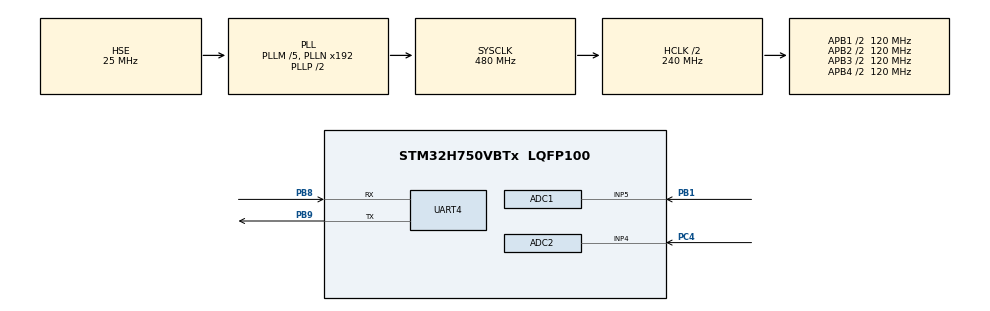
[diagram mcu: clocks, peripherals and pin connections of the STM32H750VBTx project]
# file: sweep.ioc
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ADC1.Channel-0\#ChannelRegularConversion=ADC_CHANNEL_5
ADC1.ClockPrescaler=ADC_CLOCK_ASYNC_DIV2
ADC1.ContinuousConvMode=ENABLE
ADC1.ConversionDataManagement=ADC_CONVERSIONDATA_DMA_ONESHOT
ADC1.DMAAccessModeView=ENABLE
ADC1.EOCSelection=ADC_EOC_SEQ_CONV
ADC1.Mode=ADC_DUALMODE_REGSIMULT
ADC1.NbrOfConversionFlag=1
ADC1.OffsetNumber-0\#ChannelRegularConversion=ADC_OFFSET_NONE
ADC1.OffsetSignedSaturation-0\#ChannelRegularConversion=DISABLE
ADC1.Overrun=ADC_OVR_DATA_OVERWRITTEN
ADC1.Rank-0\#ChannelRegularConversion=1
ADC1.SamplingTime-0\#ChannelRegularConversion=ADC_SAMPLETIME_1CYCLE_5
ADC1.master=1
ADC2.Channel-0\#ChannelRegularConversion=ADC_CHANNEL_4
ADC2.ClockPrescaler=ADC_CLOCK_ASYNC_DIV2
ADC2.DMAAccessModeView=ENABLE
ADC2.EOCSelection=ADC_EOC_SEQ_CONV
ADC2.Mode=ADC_DUALMODE_REGSIMULT
ADC2.NbrOfConversionFlag=1
ADC2.OffsetNumber-0\#ChannelRegularConversion=ADC_OFFSET_NONE
ADC2.OffsetSignedSaturation-0\#ChannelRegularConversion=DISABLE
ADC2.Overrun=ADC_OVR_DATA_OVERWRITTEN
ADC2.Rank-0\#ChannelRegularConversion=1
ADC2.SamplingTime-0\#ChannelRegularConversion=ADC_SAMPLETIME_1CYCLE_5
Dma.ADC1.0.Direction=DMA_PERIPH_TO_MEMORY
Dma.ADC1.0.EventEnable=DISABLE
Dma.ADC1.0.FIFOMode=DMA_FIFOMODE_DISABLE
Dma.ADC1.0.Instance=DMA1_Stream0
Dma.ADC1.0.MemDataAlignment=DMA_MDATAALIGN_WORD
Dma.ADC1.0.MemInc=DMA_MINC_ENABLE
Dma.ADC1.0.Mode=DMA_NORMAL
Dma.ADC1.0.PeriphDataAlignment=DMA_PDATAALIGN_WORD
Dma.ADC1.0.PeriphInc=DMA_PINC_DISABLE
Dma.ADC1.0.Polarity=HAL_DMAMUX_REQ_GEN_RISING
Dma.ADC1.0.Priority=DMA_PRIORITY_LOW
Dma.ADC1.0.RequestNumber=1
Dma.ADC1.0.SignalID=NONE
Dma.ADC1.0.SyncEnable=DISABLE
Dma.ADC1.0.SyncPolarity=HAL_DMAMUX_SYNC_NO_EVENT
Dma.ADC1.0.SyncRequestNumber=1
Dma.ADC1.0.SyncSignalID=NONE
Dma.Request0=ADC1
Mcu.Family=STM32H7
Mcu.Name=STM32H750VBTx
Mcu.Package=LQFP100
NVIC.DMA1_Stream0_IRQn=true\:3\:0\:true\:false\:true\:false\:true
NVIC.PriorityGroup=NVIC_PRIORITYGROUP_2
NVIC.UART4_IRQn=true\:3\:3\:true\:false\:true\:true\:true
PB1.Signal=ADCx_INP5
PB8.Mode=Asynchronous
PB8.Signal=UART4_RX
PB9.Mode=Asynchronous
PB9.Signal=UART4_TX
PC4.Signal=ADCx_INP4
PH0-OSC_IN\ (PH0).Mode=HSE-External-Oscillator
PH0-OSC_IN\ (PH0).Signal=RCC_OSC_IN
PH1-OSC_OUT\ (PH1).Mode=HSE-External-Oscillator
PH1-OSC_OUT\ (PH1).Signal=RCC_OSC_OUT
ProjectManager.HeapSize=0x1000
ProjectManager.StackSize=0x20000
ProjectManager.TargetToolchain=MDK-ARM V5
RCC.ADCCLockSelection=RCC_ADCCLKSOURCE_PLL3
RCC.ADCFreq_Value=50000000
RCC.APB1Freq_Value=120000000
RCC.APB2Freq_Value=120000000
RCC.APB3Freq_Value=120000000
RCC.APB4Freq_Value=120000000
RCC.CKPERSourceSelection=RCC_CLKPSOURCE_CSI
RCC.CortexFreq_Value=480000000
RCC.D1PPRE=RCC_APB3_DIV2
RCC.D2PPRE1=RCC_APB1_DIV2
RCC.D2PPRE2=RCC_APB2_DIV2
RCC.D3PPRE=RCC_APB4_DIV2
RCC.DIVM1=5
RCC.DIVM2=25
RCC.DIVM3=25
RCC.DIVN1=192
RCC.DIVN2=240
RCC.DIVN3=200
RCC.DIVP3=10
RCC.DIVQ3=10
RCC.DIVR3=4
RCC.HCLKFreq_Value=240000000
RCC.HPRE=RCC_HCLK_DIV2
RCC.HRTIMCLockSelection=RCC_HRTIM1CLK_CPUCLK
RCC.LPTIM1CLockSelection=RCC_LPTIM1CLKSOURCE_CLKP
RCC.PLL2FRACN=0
RCC.PLL3FRACN=0
RCC.PLLFRACN=0
RCC.PLLSourceVirtual=RCC_PLLSOURCE_HSE
RCC.SPI123CLockSelection=RCC_SPI123CLKSOURCE_PLL2
RCC.SYSCLKFreq_VALUE=480000000
RCC.SYSCLKSource=RCC_SYSCLKSOURCE_PLLCLK
RCC.USBFreq_Value=480000000
SH.ADCx_INP4.0=ADC2_INP4,IN4-Single-Ended
SH.ADCx_INP5.0=ADC1_INP5,IN5-Single-Ended
VP_VREFBUF_V_VREFBUF.Mode=ExternalMode
board=custom

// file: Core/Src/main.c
/* USER CODE BEGIN Header */
/**
 ******************************************************************************
 * @file           : main.c
 * @brief          : Main program body
 ******************************************************************************
 * @attention
 *
 * <h2><center>&copy; Copyright (c) 2021 STMicroelectronics.
 * All rights reserved.</center></h2>
 *
 * This software component is licensed by ST under BSD 3-Clause license,
 * the "License"; You may not use this file except in compliance with the
 * License. You may obtain a copy of the License at:
 *                        opensource.org/licenses/BSD-3-Clause
 *
 ******************************************************************************
 */
/* USER CODE END Header */
#include "main.h"
#include "adc.h"
#include "dma.h"
#include "usart.h"
#include "gpio.h"

/* USER CODE BEGIN Includes */
#include "string.h"
#include "debug.h"
#include "fft.h"
#include <stdlib.h>
#include "AD9958.h"
//#include "HMC472.h"
/* USER CODE END Includes */

/* USER CODE BEGIN PTD */
#define ADC_DATA_LENGTH 1024
uint32_t g_adc1_dma_data1[ADC_DATA_LENGTH];//定义adc1采集数据存放数组
volatile uint8_t g_adc1_dma_complete_flag = 0;	//adc1数据dma采集完成标志，在dma采集完成
float dataR[1024] = {0};
float dataI[1024] = {0};
float datafR[1024] = {0};
float datafI[1024] = {0};
int f_=11;
float CH1 = 0;
float CH2 = 0;
/* USER CODE END PTD */

void SystemClock_Config(void);
void PeriphCommonClock_Config(void);

/* USER CODE BEGIN 0 */
void HAL_ADC_ConvCpltCallback(ADC_HandleTypeDef *hadc)
{
	if(hadc->Instance==ADC1)
	{
		g_adc1_dma_complete_flag = 1;//采集完成标志
//		HAL_ADCEx_MultiModeStop_DMA(&hadc1);
	}
}

void ADC_start(uint32_t freq)
{
  int f;
	if (freq >= 500000){
    f = 12;
	}else if(freq >= 200000 ){
		f = 11;
	}else if(freq >= 100000 ){
		f = 10;
	}else if(freq >= 50000 ){
		f = 9;
//	}else if(freq >= 20000 ){
//		f = 8;
	}else if(freq >= 10000 ){
		f = 7;
	}else if(freq >= 5000 ){
		f = 6;
//	}else if(freq >= 2000){
//		f = 5;
	}else if(freq >= 1000){
		f = 4;
	}else if(freq >= 500){
		f = 3;
//	}else if(freq >= 200){
//		f = 2;
	}else if(freq >= 100){
		f = 1;
	}else{
		f = 0;
	}
	if(f != f_){
		RCC_PeriphCLKInitTypeDef PeriphClkInitStruct = {0}; //RCC时钟初始结构体
		ADC_Disable(&hadc1);
		ADC_Disable(&hadc2);
		f_ = f;
		HAL_Delay(5);

	//  if(f < 9){
	//			HAL_Delay(20);
	//	}
	//	if(f < 8){
	//			HAL_Delay(20);
	//	}
	//	if(f < 7){
	//			HAL_Delay(20);
	//	}
		switch(f)
		{
			case 0://200ms
				PeriphClkInitStruct.PeriphClockSelection = RCC_PERIPHCLK_ADC;
				PeriphClkInitStruct.PLL3.PLL3M = 25;	//PLL输入25M分频,Max 63
				PeriphClkInitStruct.PLL3.PLL3N = 164;	//PLL分频后倍频,Max 512
				PeriphClkInitStruct.PLL3.PLL3R = 128;	//PLL分频,Max 128
				PeriphClkInitStruct.AdcClockSelection = RCC_ADCCLKSOURCE_PLL3;
				HAL_RCCEx_PeriphCLKConfig(&PeriphClkInitStruct);

				hadc1.Init.ClockPrescaler = ADC_CLOCK_ASYNC_DIV128;//adc内部分频,Max 256,只能倍数
				hadc2.Init.ClockPrescaler = ADC_CLOCK_ASYNC_DIV128;//adc内部分频,Max 256,只能倍数
				HAL_ADC_Init(&hadc1);
				HAL_ADC_Init(&hadc2);
			break;
			case 1://100ms
				PeriphClkInitStruct.PeriphClockSelection = RCC_PERIPHCLK_ADC;
				PeriphClkInitStruct.PLL3.PLL3M = 25;	//PLL输入25M分频,Max 63
				PeriphClkInitStruct.PLL3.PLL3N = 164;	//PLL分频后倍频,Max 512
				PeriphClkInitStruct.PLL3.PLL3R = 128;	//PLL分频,Max 128
				PeriphClkInitStruct.AdcClockSelection = RCC_ADCCLKSOURCE_PLL3;
				HAL_RCCEx_PeriphCLKConfig(&PeriphClkInitStruct);

				hadc1.Init.ClockPrescaler = ADC_CLOCK_ASYNC_DIV64;//adc内部分频,Max 256,只能倍数
				hadc2.Init.ClockPrescaler = ADC_CLOCK_ASYNC_DIV64;//adc内部分频,Max 256,只能倍数
				HAL_ADC_Init(&hadc1);
				HAL_ADC_Init(&hadc2);
			break;
			case 2://50ms
				PeriphClkInitStruct.PeriphClockSelection = RCC_PERIPHCLK_ADC;
				PeriphClkInitStruct.PLL3.PLL3M = 25;	//PLL输入25M分频,Max 63
				PeriphClkInitStruct.PLL3.PLL3N = 164;	//PLL分频后倍频,Max 512
				PeriphClkInitStruct.PLL3.PLL3R = 128;	//PLL分频,Max 128
				PeriphClkInitStruct.AdcClockSelection = RCC_ADCCLKSOURCE_PLL3;
				HAL_RCCEx_PeriphCLKConfig(&PeriphClkInitStruct);

				hadc1.Init.ClockPrescaler = ADC_CLOCK_ASYNC_DIV32;//adc内部分频,Max 256,只能倍数
				hadc2.Init.ClockPrescaler = ADC_CLOCK_ASYNC_DIV32;//adc内部分频,Max 256,只能倍数
				HAL_ADC_Init(&hadc1);
				HAL_ADC_Init(&hadc2);
			break;
			case 3://20ms
				PeriphClkInitStruct.PeriphClockSelection = RCC_PERIPHCLK_ADC;
				PeriphClkInitStruct.PLL3.PLL3M = 25;	//PLL输入25M分频,Max 63
				PeriphClkInitStruct.PLL3.PLL3N = 320;	//PLL分频后倍频,Max 512
				PeriphClkInitStruct.PLL3.PLL3R = 100;	//PLL分频,Max 128
				PeriphClkInitStruct.AdcClockSelection = RCC_ADCCLKSOURCE_PLL3;
				HAL_RCCEx_PeriphCLKConfig(&PeriphClkInitStruct);

				hadc1.Init.ClockPrescaler = ADC_CLOCK_ASYNC_DIV32;//adc内部分频,Max 256,只能倍数
				hadc2.Init.ClockPrescaler = ADC_CLOCK_ASYNC_DIV32;//adc内部分频,Max 256,只能倍数
				HAL_ADC_Init(&hadc1);
				HAL_ADC_Init(&hadc2);
			break;
			case 4://10ms
				PeriphClkInitStruct.PeriphClockSelection = RCC_PERIPHCLK_ADC;
				PeriphClkInitStruct.PLL3.PLL3M = 25;	//PLL输入25M分频,Max 63
				PeriphClkInitStruct.PLL3.PLL3N = 320;	//PLL分频后倍频,Max 512
				PeriphClkInitStruct.PLL3.PLL3R = 100;	//PLL分频,Max 128
				PeriphClkInitStruct.AdcClockSelection = RCC_ADCCLKSOURCE_PLL3;
				HAL_RCCEx_PeriphCLKConfig(&PeriphClkInitStruct);

				hadc1.Init.ClockPrescaler = ADC_CLOCK_ASYNC_DIV16;//adc内部分频,Max 256,只能倍数
				hadc2.Init.ClockPrescaler = ADC_CLOCK_ASYNC_DIV16;//adc内部分频,Max 256,只能倍数
				HAL_ADC_Init(&hadc1);
				HAL_ADC_Init(&hadc2);
			break;
			case 5://5ms
				PeriphClkInitStruct.PeriphClockSelection = RCC_PERIPHCLK_ADC;
				PeriphClkInitStruct.PLL3.PLL3M = 25;	//PLL输入25M分频,Max 63
				PeriphClkInitStruct.PLL3.PLL3N = 320;	//PLL分频后倍频,Max 512
				PeriphClkInitStruct.PLL3.PLL3R = 100;	//PLL分频,Max 128
				PeriphClkInitStruct.AdcClockSelection = RCC_ADCCLKSOURCE_PLL3;
				HAL_RCCEx_PeriphCLKConfig(&PeriphClkInitStruct);

				hadc1.Init.ClockPrescaler = ADC_CLOCK_ASYNC_DIV8;//adc内部分频,Max 256,只能倍数
				hadc2.Init.ClockPrescaler = ADC_CLOCK_ASYNC_DIV8;//adc内部分频,Max 256,只能倍数
				HAL_ADC_Init(&hadc1);
				HAL_ADC_Init(&hadc2);
			break;
			case 6://2ms
				PeriphClkInitStruct.PeriphClockSelection = RCC_PERIPHCLK_ADC;
				PeriphClkInitStruct.PLL3.PLL3M = 25;	//PLL输入25M分频,Max 63
				PeriphClkInitStruct.PLL3.PLL3N = 150;	//PLL分频后倍频,Max 512
				PeriphClkInitStruct.PLL3.PLL3R = 75;	//PLL分频,Max 128
				PeriphClkInitStruct.AdcClockSelection = RCC_ADCCLKSOURCE_PLL3;
				HAL_RCCEx_PeriphCLKConfig(&PeriphClkInitStruct);

				hadc1.Init.ClockPrescaler = ADC_CLOCK_ASYNC_DIV2;//adc内部分频,Max 256,只能倍数
				hadc2.Init.ClockPrescaler = ADC_CLOCK_ASYNC_DIV2;//adc内部分频,Max 256,只能倍数
				HAL_ADC_Init(&hadc1);
				HAL_ADC_Init(&hadc2);
			break;
			case 7://1ms
				PeriphClkInitStruct.PeriphClockSelection = RCC_PERIPHCLK_ADC;
				PeriphClkInitStruct.PLL3.PLL3M = 25;	//PLL输入25M分频,Max 63
				PeriphClkInitStruct.PLL3.PLL3N = 200;	//PLL分频后倍频,Max 512
				PeriphClkInitStruct.PLL3.PLL3R = 75;	//PLL分频,Max 128
				PeriphClkInitStruct.AdcClockSelection = RCC_ADCCLKSOURCE_PLL3;
				HAL_RCCEx_PeriphCLKConfig(&PeriphClkInitStruct);

				hadc1.Init.ClockPrescaler = ADC_CLOCK_ASYNC_DIV1;//adc内部分频,Max 256,只能倍数
				hadc2.Init.ClockPrescaler = ADC_CLOCK_ASYNC_DIV1;//adc内部分频,Max 256,只能倍数
				HAL_ADC_Init(&hadc1);
				HAL_ADC_Init(&hadc2);
			break;
			case 8://500us
				PeriphClkInitStruct.PeriphClockSelection = RCC_PERIPHCLK_ADC;
				PeriphClkInitStruct.PLL3.PLL3M = 25;	//PLL输入25M分频,Max 63
				PeriphClkInitStruct.PLL3.PLL3N = 300;	//PLL分频后倍频,Max 512
				PeriphClkInitStruct.PLL3.PLL3R = 50;	//PLL分频,Max 128
				PeriphClkInitStruct.AdcClockSelection = RCC_ADCCLKSOURCE_PLL3;
				HAL_RCCEx_PeriphCLKConfig(&PeriphClkInitStruct);
				hadc1.Init.ClockPrescaler = ADC_CLOCK_ASYNC_DIV1;//adc内部分频,Max 256,只能倍数
				hadc2.Init.ClockPrescaler = ADC_CLOCK_ASYNC_DIV1;//adc内部分频,Max 256,只能倍数
				HAL_ADC_Init(&hadc1);
				HAL_ADC_Init(&hadc2);
			break;
			case 9://200us
				PeriphClkInitStruct.PeriphClockSelection = RCC_PERIPHCLK_ADC;
				PeriphClkInitStruct.PLL3.PLL3M = 25;	//PLL输入25M分频,Max 63
				PeriphClkInitStruct.PLL3.PLL3N = 200;	//PLL分频后倍频,Max 512
				PeriphClkInitStruct.PLL3.PLL3R = 5;	//PLL分频,Max 128
				PeriphClkInitStruct.AdcClockSelection = RCC_ADCCLKSOURCE_PLL3;
				HAL_RCCEx_PeriphCLKConfig(&PeriphClkInitStruct);

				hadc1.Init.ClockPrescaler = ADC_CLOCK_ASYNC_DIV4;//adc内部分频,Max 256,只能倍数
				hadc2.Init.ClockPrescaler = ADC_CLOCK_ASYNC_DIV4;//adc内部分频,Max 256,只能倍数
				HAL_ADC_Init(&hadc1);
				HAL_ADC_Init(&hadc2);
			break;
			case 10://100us
				PeriphClkInitStruct.PeriphClockSelection = RCC_PERIPHCLK_ADC;
				PeriphClkInitStruct.PLL3.PLL3M = 25;	//PLL输入25M分频,Max 63
				PeriphClkInitStruct.PLL3.PLL3N = 200;	//PLL分频后倍频,Max 512
				PeriphClkInitStruct.PLL3.PLL3R = 5;	//PLL分频,Max 128
				PeriphClkInitStruct.AdcClockSelection = RCC_ADCCLKSOURCE_PLL3;
				HAL_RCCEx_PeriphCLKConfig(&PeriphClkInitStruct);

				hadc1.Init.ClockPrescaler = ADC_CLOCK_ASYNC_DIV2;//adc内部分频,Max 256,只能倍数
				hadc2.Init.ClockPrescaler = ADC_CLOCK_ASYNC_DIV2;//adc内部分频,Max 256,只能倍数
				HAL_ADC_Init(&hadc1);
				HAL_ADC_Init(&hadc2);
			break;
			case 11://50us
				PeriphClkInitStruct.PeriphClockSelection = RCC_PERIPHCLK_ADC;
				PeriphClkInitStruct.PLL3.PLL3M = 25;	//PLL输入25M分频,Max 63
				PeriphClkInitStruct.PLL3.PLL3N = 200;	//PLL分频后倍频,Max 512
				PeriphClkInitStruct.PLL3.PLL3R = 5;	//PLL分频,Max 128
				PeriphClkInitStruct.AdcClockSelection = RCC_ADCCLKSOURCE_PLL3;
				HAL_RCCEx_PeriphCLKConfig(&PeriphClkInitStruct);

				hadc1.Init.ClockPrescaler = ADC_CLOCK_ASYNC_DIV1;//adc内部分频,Max 256,只能倍数
				hadc2.Init.ClockPrescaler = ADC_CLOCK_ASYNC_DIV1;//adc内部分频,Max 256,只能倍数
				HAL_ADC_Init(&hadc1);
				HAL_ADC_Init(&hadc2);
			break;
			case 12://20us
				PeriphClkInitStruct.PeriphClockSelection = RCC_PERIPHCLK_ADC;
				PeriphClkInitStruct.PLL3.PLL3M = 25;	//PLL输入25M分频,Max 63
				PeriphClkInitStruct.PLL3.PLL3N = 360;	//PLL分频后倍频,Max 512
				PeriphClkInitStruct.PLL3.PLL3R = 5;	//PLL分频,Max 128
				PeriphClkInitStruct.AdcClockSelection = RCC_ADCCLKSOURCE_PLL3;
				HAL_RCCEx_PeriphCLKConfig(&PeriphClkInitStruct);

				hadc1.Init.ClockPrescaler = ADC_CLOCK_ASYNC_DIV1;//adc内部分频,Max 256,只能倍数
				hadc2.Init.ClockPrescaler = ADC_CLOCK_ASYNC_DIV1;//adc内部分频,Max 256,只能倍数
				HAL_ADC_Init(&hadc1);
				HAL_ADC_Init(&hadc2);
			break;
			case 13://10us
				PeriphClkInitStruct.PeriphClockSelection = RCC_PERIPHCLK_ADC;
				PeriphClkInitStruct.PLL3.PLL3M = 25;	//PLL输入25M分频,Max 63
				PeriphClkInitStruct.PLL3.PLL3N = 200;	//PLL分频后倍频,Max 512
				PeriphClkInitStruct.PLL3.PLL3R = 5;	//PLL分频,Max 128
				PeriphClkInitStruct.AdcClockSelection = RCC_ADCCLKSOURCE_PLL3;
				HAL_RCCEx_PeriphCLKConfig(&PeriphClkInitStruct);

				hadc1.Init.ClockPrescaler = ADC_CLOCK_ASYNC_DIV1;//adc内部分频,Max 256,只能倍数
				hadc2.Init.ClockPrescaler = ADC_CLOCK_ASYNC_DIV1;//adc内部分频,Max 256,只能倍数
				HAL_ADC_Init(&hadc1);
				HAL_ADC_Init(&hadc2);
			break;
			default:
				PeriphClkInitStruct.PeriphClockSelection = RCC_PERIPHCLK_ADC;
				PeriphClkInitStruct.PLL3.PLL3M = 25;	//PLL输入25M分频,Max 63
				PeriphClkInitStruct.PLL3.PLL3N = 200;	//PLL分频后倍频,Max 512
				PeriphClkInitStruct.PLL3.PLL3R = 5;	//PLL分频,Max 128
				PeriphClkInitStruct.AdcClockSelection = RCC_ADCCLKSOURCE_PLL3;
				HAL_RCCEx_PeriphCLKConfig(&PeriphClkInitStruct);

				hadc1.Init.ClockPrescaler = ADC_CLOCK_ASYNC_DIV1;//adc内部分频,Max 256,只能倍数
				hadc2.Init.ClockPrescaler = ADC_CLOCK_ASYNC_DIV1;//adc内部分频,Max 256,只能倍数
				HAL_ADC_Init(&hadc1);
				HAL_ADC_Init(&hadc2);
				break;
			}
	}
}
/* USER CODE END 0 */

int main(void)
{

  /* MCU Configuration--------------------------------------------------------*/

  /* Reset of all peripherals, Initializes the Flash interface and the Systick. */
  HAL_Init();

  /* USER CODE BEGIN Init */

//  HAL_SYSTICK_Config(HAL_RCC_GetHCLKFreq() / 1000);

  /* USER CODE END Init */

  /* Configure the system clock */
  SystemClock_Config();

/* Configure the peripherals common clocks */
  PeriphCommonClock_Config();

  /* USER CODE BEGIN SysInit */
  HAL_NVIC_SetPriority(SysTick_IRQn,1,0);
  /* USER CODE END SysInit */

  /* Initialize all configured peripherals */
  MX_GPIO_Init();
  MX_UART4_Init();
  MX_DMA_Init();
  MX_ADC1_Init();
  MX_ADC2_Init();
  /* USER CODE BEGIN 2 */
	Init_AD9958();
    uint8_t testMsg[] = "test\n";
    uint8_t response[5];
    // 发送测试消息
    int statu = 1;
    // 等待设备的响应
    while (statu)
    {
        HAL_UART_Transmit(&huart4, testMsg, sizeof(testMsg), 1000);
        HAL_StatusTypeDef status = HAL_UART_Receive(&huart4, response, sizeof(response), 1000);
        statu = memcmp(testMsg, response, sizeof(response));
    }

    __HAL_UART_ENABLE_IT(&huart4, UART_IT_RXNE);

//		HMC472_Init();
//		HMC472set(63);
  /* USER CODE END 2 */

  /* Infinite loop */
    while (1)
    {

    }
}

void SystemClock_Config(void)
{
  RCC_OscInitTypeDef RCC_OscInitStruct = {0};
  RCC_ClkInitTypeDef RCC_ClkInitStruct = {0};

  /** Supply configuration update enable
  */
  HAL_PWREx_ConfigSupply(PWR_LDO_SUPPLY);
  /** Configure the main internal regulator output voltage
  */
  __HAL_PWR_VOLTAGESCALING_CONFIG(PWR_REGULATOR_VOLTAGE_SCALE0);

  while(!__HAL_PWR_GET_FLAG(PWR_FLAG_VOSRDY)) {}
  /** Macro to configure the PLL clock source
  */
  __HAL_RCC_PLL_PLLSOURCE_CONFIG(RCC_PLLSOURCE_HSE);
  /** Initializes the RCC Oscillators according to the specified parameters
  * in the RCC_OscInitTypeDef structure.
  */
  RCC_OscInitStruct.OscillatorType = RCC_OSCILLATORTYPE_HSE;
  RCC_OscInitStruct.HSEState = RCC_HSE_ON;
  RCC_OscInitStruct.PLL.PLLState = RCC_PLL_ON;
  RCC_OscInitStruct.PLL.PLLSource = RCC_PLLSOURCE_HSE;
  RCC_OscInitStruct.PLL.PLLM = 5;
  RCC_OscInitStruct.PLL.PLLN = 192;
  RCC_OscInitStruct.PLL.PLLP = 2;
  RCC_OscInitStruct.PLL.PLLQ = 2;
  RCC_OscInitStruct.PLL.PLLR = 2;
  RCC_OscInitStruct.PLL.PLLRGE = RCC_PLL1VCIRANGE_2;
  RCC_OscInitStruct.PLL.PLLVCOSEL = RCC_PLL1VCOWIDE;
  RCC_OscInitStruct.PLL.PLLFRACN = 0;
  if (HAL_RCC_OscConfig(&RCC_OscInitStruct) != HAL_OK)
  {
    Error_Handler();
  }
  /** Initializes the CPU, AHB and APB buses clocks
  */
  RCC_ClkInitStruct.ClockType = RCC_CLOCKTYPE_HCLK|RCC_CLOCKTYPE_SYSCLK
                              |RCC_CLOCKTYPE_PCLK1|RCC_CLOCKTYPE_PCLK2
                              |RCC_CLOCKTYPE_D3PCLK1|RCC_CLOCKTYPE_D1PCLK1;
  RCC_ClkInitStruct.SYSCLKSource = RCC_SYSCLKSOURCE_PLLCLK;
  RCC_ClkInitStruct.SYSCLKDivider = RCC_SYSCLK_DIV1;
  RCC_ClkInitStruct.AHBCLKDivider = RCC_HCLK_DIV2;
  RCC_ClkInitStruct.APB3CLKDivider = RCC_APB3_DIV2;
  RCC_ClkInitStruct.APB1CLKDivider = RCC_APB1_DIV2;
  RCC_ClkInitStruct.APB2CLKDivider = RCC_APB2_DIV2;
  RCC_ClkInitStruct.APB4CLKDivider = RCC_APB4_DIV2;

  if (HAL_RCC_ClockConfig(&RCC_ClkInitStruct, FLASH_LATENCY_4) != HAL_OK)
  {
    Error_Handler();
  }
}

void PeriphCommonClock_Config(void)
{
  RCC_PeriphCLKInitTypeDef PeriphClkInitStruct = {0};

  /** Initializes the peripherals clock
  */
  PeriphClkInitStruct.PeriphClockSelection = RCC_PERIPHCLK_ADC;
  PeriphClkInitStruct.PLL3.PLL3M = 25;
  PeriphClkInitStruct.PLL3.PLL3N = 200;
  PeriphClkInitStruct.PLL3.PLL3P = 10;
  PeriphClkInitStruct.PLL3.PLL3Q = 10;
  PeriphClkInitStruct.PLL3.PLL3R = 4;
  PeriphClkInitStruct.PLL3.PLL3RGE = RCC_PLL3VCIRANGE_0;
  PeriphClkInitStruct.PLL3.PLL3VCOSEL = RCC_PLL3VCOWIDE;
  PeriphClkInitStruct.PLL3.PLL3FRACN = 0;
  PeriphClkInitStruct.AdcClockSelection = RCC_ADCCLKSOURCE_PLL3;
  if (HAL_RCCEx_PeriphCLKConfig(&PeriphClkInitStruct) != HAL_OK)
  {
    Error_Handler();
  }
}

/* USER CODE BEGIN 4 */
void ADC_fft_collect(uint32_t freq)
{
    uint32_t i = 0;
	  Init_AD9958();
		AD9958_Set_Freq(freq);            // AD9958两个通道同时输出，单位：Hz
		AD9958_SetPhase2Channel(0, 90);     // 通道0、通道1相位调节输出，单位：度
    AD9958_SetAmp2Channel(1023, 1023); // 通道0、通道1幅值调节输出，，单位：DAC分辨率
    HAL_Delay(20);
    ADC_start(freq);
		memset(g_adc1_dma_data1,0,ADC_DATA_LENGTH * 4);//清除数据
		while((((g_adc1_dma_data1[500])>>16)&0x0000ffff)== 0){
			HAL_ADCEx_MultiModeStart_DMA(&hadc1,g_adc1_dma_data1,ADC_DATA_LENGTH);//ADC的dma开始采集
			 while (g_adc1_dma_complete_flag == 0)
			{
						HAL_Delay(20);		//延时
			}
			 g_adc1_dma_complete_flag = 0;
		}
    memset(dataI, 0, 1024 * sizeof(float));

    for (i = 0; i < 1024; i++)
    {
        dataR[i] = ((float)(g_adc1_dma_data1[i] & 0x0000ffff) - 32768) * 3.3f / 65536;
    }
    kfft(dataR, dataI, 1024, 10, datafR, datafI);
//				dataR[0]=0;
    for (i = 0; i < 1024; i++)
    {
        printf("%f\r\n", dataR[i] / 1024);
    }
    memset(dataI, 0, 1024 * sizeof(float));
    for (i = 0; i < 1024; i++)
    {
        dataR[i] = ((float)(((g_adc1_dma_data1[i])>>16)&0x0000ffff) - 32768) * 3.3f / 65536;
    }
    kfft(dataR, dataI, 1024, 10, datafR, datafI);
//		dataR[0]=0;
    for (i = 0; i < 1024; i++)
    {
        printf("%f\r\n", dataR[i] / 1024);
    }
}

void ADC_init(){
		Init_AD9958();
    uint32_t i = 0;
	  HAL_Delay(20);
    ADC_start(10000);
	  memset(g_adc1_dma_data1,0 ,ADC_DATA_LENGTH * 4);//清除数据
		while((((g_adc1_dma_data1[500])>>16)&0x0000ffff)== 0){
		HAL_ADCEx_MultiModeStart_DMA(&hadc1,g_adc1_dma_data1,ADC_DATA_LENGTH);//ADC的dma开始采集
		 while (g_adc1_dma_complete_flag == 0)
		{
					HAL_Delay(2);		//延时
		}
		 g_adc1_dma_complete_flag = 0;
		}
    memset(dataI, 0, 1024 * sizeof(float));

    for (i = 0; i < 1024; i++)
    {
        dataR[i] = (float)(32768 - (g_adc1_dma_data1[i] & 0x0000ffff)) * 3.3f / 65536;
    }
    kfft(dataR, dataI, 1024, 10, datafR, datafI);
    CH1 = dataR[0];
//    for (i = 0; i < 1024; i++)
//    {
//        printf("%f\r\n", dataR[i] / 1024);
//    }
    memset(dataI, 0, 1024 * sizeof(float));
    for (i = 0; i < 1024; i++)
    {
        dataR[i] = (float)(32768-(((g_adc1_dma_data1[i])>>16)&0x0000ffff)) * 3.3f / 65536;
    }
    kfft(dataR, dataI, 1024, 10, datafR, datafI);
		CH2 = dataR[0];
}
void ADC_fft_sweep(uint32_t freq)
{
		uint32_t i = 0;
		Init_AD9958();
		AD9958_Set_Freq(freq);            // AD9958两个通道同时输出，单位：Hz
		AD9958_SetPhase2Channel(90, 0);     // 通道0、通道1相位调节输出，单位：度
    AD9958_SetAmp2Channel(1023, 1023); // 通道0、通道1幅值调节输出，，单位：DAC分辨率
		HAL_Delay(20);
    ADC_start(10000);
				memset(g_adc1_dma_data1,0,ADC_DATA_LENGTH * 4);//清除数据
		while((((g_adc1_dma_data1[500])>>16)&0x0000ffff)== 0){
			HAL_ADCEx_MultiModeStart_DMA(&hadc1,g_adc1_dma_data1,ADC_DATA_LENGTH);//ADC的dma开始采集
			 while (g_adc1_dma_complete_flag == 0)
			{
						HAL_Delay(2);		//延时
			}
			 g_adc1_dma_complete_flag = 0;
		}
		    memset(dataI, 0, 1024 * sizeof(float));

    for (i = 0; i < 1024; i++)
    {
        dataR[i] = ((float)(32768-g_adc1_dma_data1[i] & 0x0000ffff)) * 3.3f / 65536;
    }
    kfft(dataR, dataI, 1024, 10, datafR, datafI);
    float I = dataR[0]/1024;
//    for (i = 0; i < 1024; i++)
//    {
//        printf("%f\r\n", dataR[i] / 1024);
//    }
    memset(dataI, 0, 1024 * sizeof(float));
    for (i = 0; i < 1024; i++)
    {
        dataR[i] = ((float)(32768-((g_adc1_dma_data1[i])>>16)&0x0000ffff) ) * 3.3f / 65536;
    }
    kfft(dataR, dataI, 1024, 10, datafR, datafI);
		float Q = dataR[0]/1024;
		float V = sqrtf(2*(I*I+Q*Q));
		float PHI = atan2(-Q,I)/3.14159f*180;
		 printf("%f\r\n", V);
		 printf("%f\r\n", PHI);
}
/* USER CODE END 4 */

void Error_Handler(void)
{
    __disable_irq();
    while (1)
    {
    }
}

/************************ (C) COPYRIGHT STMicroelectronics *****END OF FILE****/
